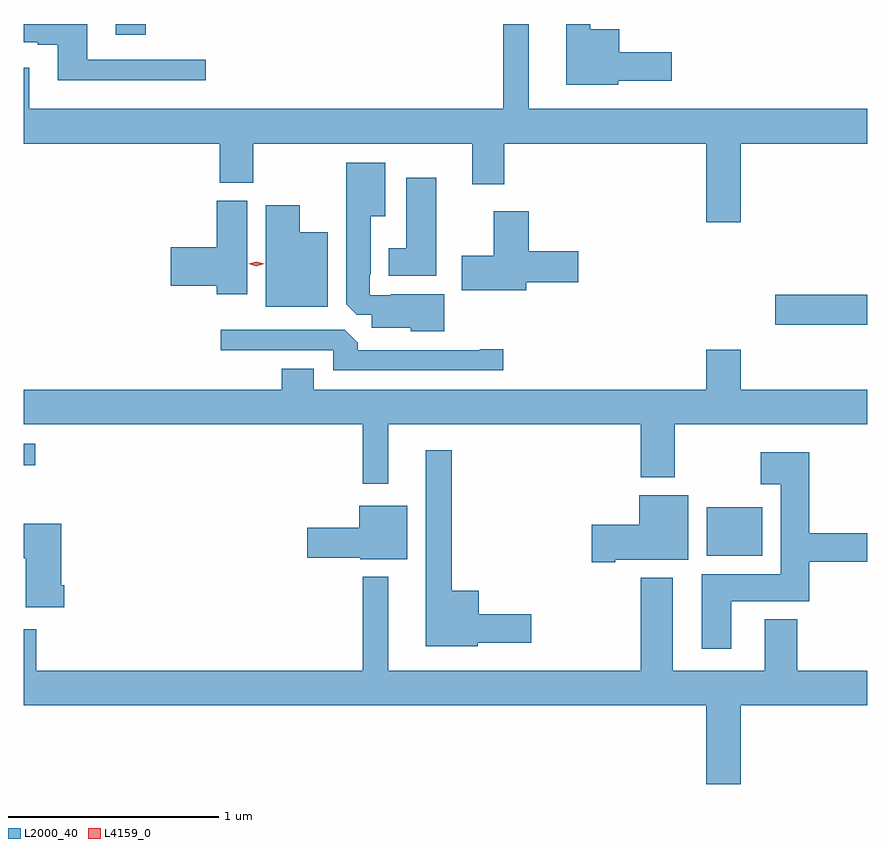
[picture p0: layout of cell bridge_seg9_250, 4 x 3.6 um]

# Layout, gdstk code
import gdstk
lib = gdstk.Library(unit=1e-6, precision=1e-09)
def R(c, l, rs):  # rectangles x0, y0, x1, y1
    for r in rs: c.add(gdstk.rectangle(r[:2], r[2:], *l))
def P(c, l, *ps):  # polygons
    for p in ps: c.add(gdstk.Polygon(p, *l))
L2000_40 = (2000, 40)
L4159_0 = (4159, 0)

bridge_seg9_250 = lib.new_cell('bridge_seg9_250')
R(bridge_seg9_250, L2000_40, [(272.903,1191.8,273.166,1192.03), (269.664,1192.231,269.719,1192.332), (273.228,1192.897,273.664,1193.039), (270.101,1194.273,270.241,1194.323)])
P(bridge_seg9_250, L2000_40, [(269.689,1194.115),(269.664,1194.115),(269.664,1193.756),(270.593,1193.756),(270.593,1193.569),(270.753,1193.569),(270.753,1193.756),(271.79,1193.756),(271.79,1193.562),(271.943,1193.562),(271.943,1193.756),(272.9,1193.756),(272.9,1193.382),(273.064,1193.382),(273.064,1193.756),(273.664,1193.756),(273.664,1193.92),(272.059,1193.92),(272.059,1194.323),(271.938,1194.323),(271.938,1193.92),(269.689,1193.92)],
  [(272.484,1194.053),(272.737,1194.053),(272.737,1194.188),(272.488,1194.188),(272.488,1194.298),(272.351,1194.298),(272.351,1194.323),(272.237,1194.323),(272.237,1194.035),(272.484,1194.035)],
  [(270.526,1194.153),(269.965,1194.153),(269.965,1194.323),(269.664,1194.323),(269.664,1194.237),(269.729,1194.237),(269.729,1194.225),(269.825,1194.225),(269.825,1194.056),(270.526,1194.056)],
  [(271.657,1193.041),(271.405,1193.041),(271.405,1193.037),(271.305,1193.037),(271.305,1193.137),(271.309,1193.137),(271.309,1193.411),(271.378,1193.411),(271.378,1193.665),(271.193,1193.665),(271.193,1192.993),(271.242,1192.944),(271.313,1192.944),(271.313,1192.883),(271.5,1192.883),(271.5,1192.865),(271.657,1192.865)],
  [(271.621,1193.593),(271.478,1193.593),(271.478,1193.26),(271.394,1193.26),(271.394,1193.129),(271.621,1193.129)],
  [(270.724,1193.484),(270.578,1193.484),(270.578,1193.264),(270.36,1193.264),(270.36,1193.081),(270.578,1193.081),(270.578,1193.04),(270.724,1193.04)],
  [(271.105,1193.335),(270.973,1193.335),(270.973,1193.464),(270.812,1193.464),(270.812,1192.982),(271.105,1192.982)],
  [(272.047,1193.099),(272.293,1193.099),(272.293,1193.246),(272.06,1193.246),(272.06,1193.434),(271.892,1193.434),(271.892,1193.223),(271.74,1193.223),(271.74,1193.06),(272.047,1193.06)],
  [(271.939,1192.781),(271.826,1192.781),(271.826,1192.776),(271.247,1192.776),(271.247,1192.81),(271.185,1192.872),(270.597,1192.872),(270.597,1192.776),(271.131,1192.776),(271.131,1192.68),(271.939,1192.68)],
  [(271.393,1192.424),(272.591,1192.424),(272.591,1192.172),(272.751,1192.172),(272.751,1192.424),(273.664,1192.424),(273.664,1192.588),(273.064,1192.588),(273.064,1192.777),(272.9,1192.777),(272.9,1192.588),(271.039,1192.588),(271.039,1192.687),(270.887,1192.687),(270.887,1192.588),(269.664,1192.588),(269.664,1192.424),(271.272,1192.424),(271.272,1192.143),(271.393,1192.143)],
  [(271.818,1191.389),(272.071,1191.389),(272.071,1191.524),(271.822,1191.524),(271.822,1191.634),(271.693,1191.634),(271.693,1192.3),(271.571,1192.3),(271.571,1191.371),(271.818,1191.371)],
  [(273.019,1191.584),(273.389,1191.584),(273.389,1191.772),(273.664,1191.772),(273.664,1191.908),(273.389,1191.908),(273.389,1192.291),(273.159,1192.291),(273.159,1192.139),(273.254,1192.139),(273.254,1191.712),(272.879,1191.712),(272.879,1191.36),(273.019,1191.36)],
  [(272.47,1191.782),(272.815,1191.782),(272.815,1192.087),(272.582,1192.087),(272.582,1191.948),(272.358,1191.948),(272.358,1191.77),(272.47,1191.77)],
  [(271.483,1192.039),(271.256,1192.039),(271.256,1191.933),(271.008,1191.933),(271.008,1191.791),(271.26,1191.791),(271.26,1191.785),(271.483,1191.785)],
  [(269.855,1191.661),(269.842,1191.661),(269.842,1191.952),(269.664,1191.952),(269.664,1191.79),(269.672,1191.79),(269.672,1191.557),(269.855,1191.557)],
  [(273.064,1191.092),(273.664,1191.092),(273.664,1191.256),(273.332,1191.256),(273.332,1191.499),(273.179,1191.499),(273.179,1191.256),(272.743,1191.256),(272.743,1191.697),(272.591,1191.697),(272.591,1191.256),(271.393,1191.256),(271.393,1191.7),(271.272,1191.7),(271.272,1191.256),(269.723,1191.256),(269.723,1191.451),(269.664,1191.451),(269.664,1191.092),(272.9,1191.092),(272.9,1190.718),(273.064,1190.718)])
P(bridge_seg9_250, L4159_0, [(270.767,1193.175),(270.73,1193.185),(270.73,1193.185),(270.73,1193.185),(270.767,1193.195),(270.804,1193.186),(270.805,1193.185),(270.804,1193.185)])

lib.write_gds('bridge_seg9_250.gds')
